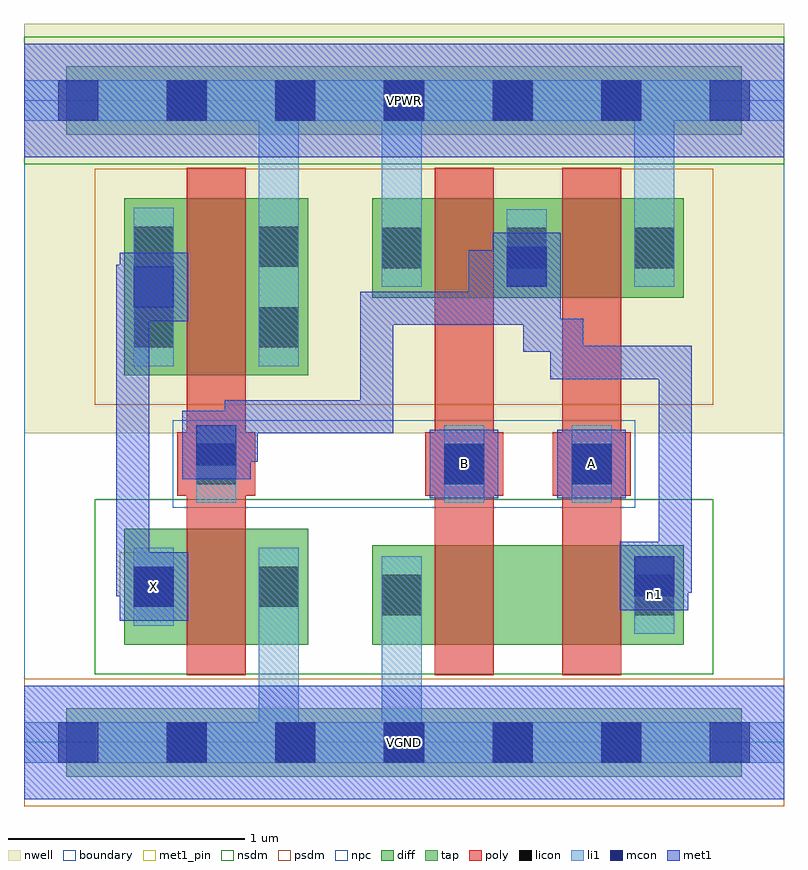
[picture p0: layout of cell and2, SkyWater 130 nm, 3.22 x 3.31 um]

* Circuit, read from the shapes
.subckt and2 A B VGND VPWR X n1
XM1 VGND n1 X VGND sky130_fd_pr__nfet_01v8 w=0.49 l=0.25
XM2 n2 B VGND VGND sky130_fd_pr__nfet_01v8 w=0.42 l=0.25
XM3 n1 A n2 VGND sky130_fd_pr__nfet_01v8 w=0.42 l=0.25
XM4 VPWR n1 X VPWR sky130_fd_pr__pfet_01v8 w=0.75 l=0.25
XM5 n1 B VPWR VPWR sky130_fd_pr__pfet_01v8 w=0.42 l=0.25
XM6 VPWR A n1 VPWR sky130_fd_pr__pfet_01v8 w=0.42 l=0.25
.ends

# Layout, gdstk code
import gdstk
lib = gdstk.Library(unit=1e-6, precision=1e-09)
def R(c, l, rs):  # rectangles x0, y0, x1, y1
    for r in rs: c.add(gdstk.rectangle(r[:2], r[2:], *l))
def A(c, l, x, y, w, h, nx, ny, dx, dy):  # array of equal rectangles
    R(c, l, [(x+i*dx, y+j*dy, x+i*dx+w, y+j*dy+h) for i in range(nx) for j in range(ny)])
nwell = (64, 20)
diff = (65, 20)
tap = (65, 44)
poly = (66, 20)
licon = (66, 44)
li1 = (67, 20)
mcon = (67, 44)
met1_pin = (68, 16)
met1 = (68, 20)
nsdm = (93, 44)
psdm = (94, 20)
npc = (95, 20)
boundary = (235, 4)

and2 = lib.new_cell('and2')
R(and2, nwell, [(0,1.31,3.22,3.045)])
R(and2, diff, [(0.425,0.415,1.205,0.905), (1.475,0.415,2.795,0.835), (0.425,1.555,1.205,2.305), (1.475,1.885,2.795,2.305)])
R(and2, tap, [(0.18,-0.145,3.04,0.145), (0.18,2.575,3.04,2.865)])
R(and2, poly, [(0.69,0.285,0.94,2.435), (1.74,0.285,1.99,2.435), (2.28,0.285,2.53,2.435), (0.65,1.045,0.98,1.315), (1.7,1.045,2.03,1.315), (2.24,1.045,2.57,1.315)])
A(and2, licon, 0.605, -0.085, 0.17, 0.17, 5, 2, 0.46, 2.72)
R(and2, licon, [(1.515,0.54,1.685,0.71), (2.585,0.54,2.755,0.71), (0.465,0.575,0.635,0.745), (0.995,0.575,1.165,0.745), (0.73,1.095,0.9,1.265), (1.78,1.095,1.95,1.265), (2.32,1.095,2.49,1.265), (0.465,1.675,0.635,1.845), (0.995,1.675,1.165,1.845), (1.515,2.01,1.685,2.18), (2.045,2.01,2.215,2.18), (2.585,2.01,2.755,2.18), (0.465,2.015,0.635,2.185), (0.995,2.015,1.165,2.185)])
R(and2, li1, [(0,-0.085,3.22,0.085), (0.995,-0.085,1.165,0.825), (1.515,-0.085,1.685,0.79), (1.515,0.46,1.685,0.79), (2.585,0.46,2.755,0.79), (0.465,0.495,0.635,0.825), (0.995,0.495,1.165,0.825), (0.73,1.015,0.9,1.345), (1.78,1.015,1.95,1.345), (2.32,1.015,2.49,1.345), (0.465,1.595,0.635,2.265), (0.995,1.595,1.165,2.265), (0.995,1.595,1.165,2.805), (1.515,1.93,1.685,2.26), (1.515,1.93,1.685,2.805), (2.045,1.93,2.215,2.26), (2.585,1.93,2.755,2.26), (2.585,1.93,2.755,2.805), (0,2.635,3.22,2.805)])
A(and2, mcon, 0.145, -0.085, 0.17, 0.17, 7, 2, 0.46, 2.72)
R(and2, mcon, [(0.465,0.575,0.635,0.745), (2.585,0.62,2.755,0.79), (1.78,1.095,1.95,1.265), (2.32,1.095,2.49,1.265), (0.73,1.175,0.9,1.345), (0.465,1.845,0.635,2.015), (2.045,1.93,2.215,2.1)])
R(and2, met1_pin, [(0,-0.24,3.22,0.24), (0.405,0.515,0.695,0.805), (1.72,1.035,2.01,1.325), (2.26,1.035,2.55,1.325), (0,2.48,3.22,2.96)])
R(and2, met1, [(0,-0.24,3.22,0.24), (0.405,0.515,0.695,0.805), (2.525,0.56,2.815,0.85), (0.39,0.62,0.645,0.76), (0.39,0.62,0.53,2.025), (0.505,0.62,0.645,0.76), (2.6,0.635,2.83,0.775), (2.69,0.635,2.83,0.875), (2.69,0.735,2.83,1.68), (1.72,1.035,2.01,1.325), (2.26,1.035,2.55,1.325), (0.67,1.115,0.96,1.405), (0.745,1.19,0.99,1.33), (0.85,1.19,0.99,1.45), (0.85,1.31,1.565,1.45), (1.425,1.31,1.565,1.91), (2.23,1.54,2.83,1.68), (2.23,1.54,2.37,1.795), (2.115,1.655,2.37,1.795), (2.115,1.655,2.255,1.91), (1.425,1.77,2.025,1.91), (1.885,1.77,2.025,2.085), (1.885,1.77,2.255,1.91), (0.405,1.785,0.695,2.075), (2.115,1.795,2.275,1.87), (2.23,1.795,2.275,1.87), (1.985,1.87,2.275,2.16), (0.39,1.885,0.645,2.025), (0.505,1.885,0.645,2.025), (1.885,1.91,2.2,1.945), (1.885,1.945,2.2,2.085), (0,2.48,3.22,2.96)])
R(and2, nsdm, [(0.3,0.29,2.92,1.03), (0,2.45,3.22,2.99)])
R(and2, psdm, [(0,-0.27,3.22,0.27), (0.3,1.43,2.92,2.43)])
R(and2, npc, [(0.63,0.995,2.59,1.365)])
R(and2, boundary, [(0,0,3.22,2.72)])
and2.add(gdstk.Label('n1', (2.67,0.625), layer=67, texttype=5))
and2.add(gdstk.Label('A', (2.405,1.18), layer=68, texttype=5))
and2.add(gdstk.Label('B', (1.865,1.18), layer=68, texttype=5))
and2.add(gdstk.Label('X', (0.55,0.66), layer=68, texttype=5))
and2.add(gdstk.Label('VPWR', (1.61,2.72), layer=68, texttype=5))
and2.add(gdstk.Label('VGND', (1.61,0), layer=68, texttype=5))
and2.add(gdstk.Label('A', (2.405,1.18), layer=68, texttype=16))
and2.add(gdstk.Label('B', (1.865,1.18), layer=68, texttype=16))
and2.add(gdstk.Label('X', (0.55,0.66), layer=68, texttype=16))
and2.add(gdstk.Label('VPWR', (1.61,2.72), layer=68, texttype=16))
and2.add(gdstk.Label('VGND', (1.61,0), layer=68, texttype=16))

lib.write_gds('and2.gds')
